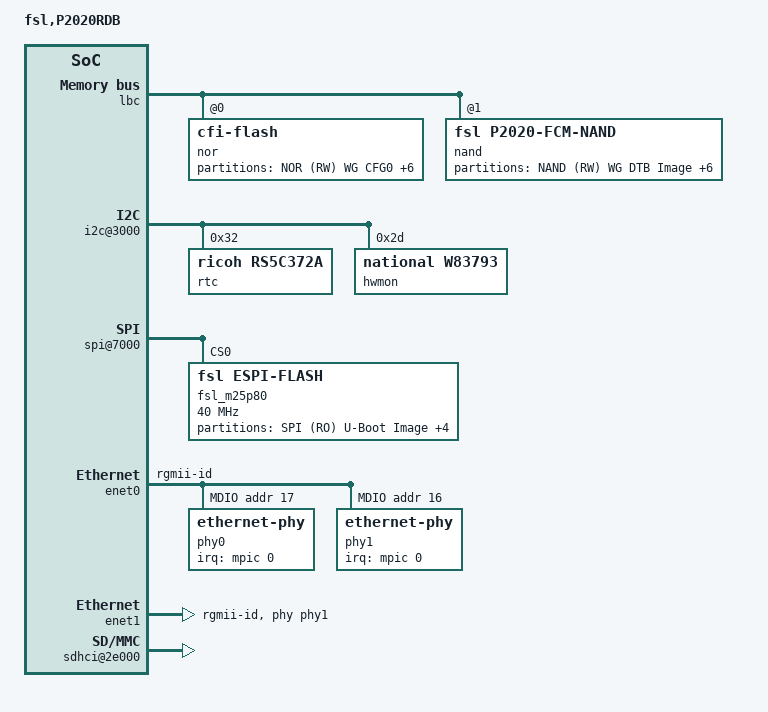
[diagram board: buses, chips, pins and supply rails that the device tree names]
/*
 * P2020 RDB Device Tree Source
 *
 * Copyright 2009-2010 Freescale Semiconductor Inc.
 *
 * This program is free software; you can redistribute  it and/or modify it
 * under  the terms of  the GNU General  Public License as published by the
 * Free Software Foundation;  either version 2 of the  License, or (at your
 * option) any later version.
 */

/include/ "fsl/p2020si-pre.dtsi"

/ {
	model = "fsl,P2020RDB";
	compatible = "fsl,P2020RDB";

	aliases {
		ethernet0 = &enet0;
		ethernet1 = &enet1;
		serial0 = &serial0;
		serial1 = &serial1;
		pci0 = &pci0;
		pci1 = &pci1;
	};

	memory {
		device_type = "memory";
	};

	lbc: localbus@ffe05000 {
		reg = <0 0xffe05000 0 0x1000>;
		interrupts = <19 2>;
		interrupt-parent = <&mpic>;

		/* NOR, NAND Flashes */
		ranges = <0x0 0x0 0x0 0xefe00000 0x00200000
			  0x1 0x0 0x0 0xffa00000 0x00040000>;

		nor@0,0 {
			#address-cells = <1>;
			#size-cells = <1>;
			compatible = "cfi-flash";
			reg = <0x0 0x0 0x200000>;
			bank-width = <2>;
			device-width = <1>;

			partition@00000000 {
				/*128KB*/
				reg = <0x00000000 0x00020000>;
				label = "NOR (RW) WG CFG0";
			};

			partition@00020000 {
				/*64KB*/
				reg = <0x00020000 0x00010000>;
				label = "NOR (RW) WG CFG1";
			};

			partition@00030000 {
				/*64KB*/
				reg = <0x00030000 0x00010000>;
				label = "NOR (RW) WG MFG DATA";
			};

			partition@00040000 {
				/*64KB*/
				reg = <0x00040000 0x000B0000>;
				label = "NOR (RW) WG bootOpt Data & reserved";
			};

			partition@000F0000 {
				/*64KB*/
				reg = <0x000F0000 0x00010000>;
				label = "NOR (RW) WG U-Boot ENV";
			};

			partition@00100000 {
				/*512KB*/
				reg = <0x00100000 0x00080000>;
				label = "NOR (RW) WG U-Boot Image";
			};

			partition@00180000 {
				/*512KB*/
				reg = <0x00180000 0x00080000>;
				label = "NOR (RW) WG U-Boot FAILSAFE";
			};

		};

		nand@1,0 {
			#address-cells = <1>;
			#size-cells = <1>;
			compatible = "fsl,p2020-fcm-nand",
				     "fsl,elbc-fcm-nand";
			reg = <0x1 0x0 0x00040000>;

			partition@00000000 {
				/* 128KB for DTB Image */
				reg = <0x00000000 0x00020000>;
				label = "NAND (RW) WG DTB Image";
			};

			partition@00020000 {
				/* 5MB for sysa kernel */
				reg = <0x00020000 0x00500000>;
				label = "NAND (RW) WG SYSA Kernel";
			};

			partition@00520000 {
				/* 121MB for sysa code */
				reg = <0x00520000 0x079e0000>;
				label = "NAND (RW) WG SYSA_CODE";
			};

			partition@07f00000 {
				/* 352MB for sysa data */
				reg = <0x07f00000 0x16000000>;
				label = "NAND (RW) WG SYSA_DATA";
			};

			partition@1df00000 {
				/* 5MB for sysb kernel */
				reg = <0x1df00000 0x00500000>;
				label = "NAND (RW) WG SYSB Kernel";
			};

			partition@1e400000 {
				/* 24MB for sysb code */
				reg = <0x1e400000 0x01800000>;
				label = "NAND (RW) WG SYSB_CODE";
			};

			partition@1fc00000 {
				/* 4MB for kdump */
				reg = <0x1fc00000 0x00400000>;
				label = "NAND (RW) WG KDUMP";
			};
		};
	};

	soc: soc@ffe00000 {
		#address-cells = <1>;
		#size-cells = <1>;
		device_type = "soc";
		compatible = "fsl,p2020-immr", "simple-bus";
		ranges = <0x0  0x0 0xffe00000 0x100000>;
		bus-frequency = <0>;		// Filled out by uboot.

		i2c@3000 {
			#address-cells = <1>;
			#size-cells = <0>;
			cell-index = <0>;
			compatible = "fsl-i2c";
			reg = <0x3000 0x100>;
			interrupts = <43 2>;
			interrupt-parent = <&mpic>;
			dfsrr;
			rtc@32 {
				compatible = "ricoh,rs5c372a";
				reg = <0x32>;
			};
			hwmon@2d {
				compatible = "national,w83793";
				reg = <0x2d>;
			};
		};

		spi@7000 {
			cell-index = <0>;
			#address-cells = <1>;
			#size-cells = <0>;
			compatible = "fsl,espi";
			reg = <0x7000 0x1000>;
			interrupts = <59 0x2>;
			interrupt-parent = <&mpic>;
			espi,num-ss-bits = <4>;
			mode = "cpu";

			fsl_m25p80@0 {
				#address-cells = <1>;
				#size-cells = <1>;
				compatible = "fsl,espi-flash";
				reg = <0>;
				linux,modalias = "fsl_m25p80";
				modal = "s25sl128b";
				spi-max-frequency = <40000000>;
				mode = <0>;

				partition@0 {
					/* 512KB for u-boot Bootloader Image */
					reg = <0x0 0x00080000>;
					label = "SPI (RO) U-Boot Image";
					read-only;
				};

				partition@80000 {
					/* 512KB for DTB Image */
					reg = <0x00080000 0x00080000>;
					label = "SPI (RO) DTB Image";
					read-only;
				};

				partition@100000 {
					/* 4MB for Linux Kernel Image */
					reg = <0x00100000 0x00400000>;
					label = "SPI (RO) Linux Kernel Image";
					read-only;
				};

				partition@500000 {
					/* 4MB for Compressed RFS Image */
					reg = <0x00500000 0x00400000>;
					label = "SPI (RO) Compressed RFS Image";
					read-only;
				};

				partition@900000 {
					/* 7MB for JFFS2 based RFS */
					reg = <0x00900000 0x00700000>;
					label = "SPI (RW) JFFS2 RFS";
				};
			};
		};

		usb@22000 {
			phy_type = "ulpi";
		};

		enet0: ethernet@24000 {
			#address-cells = <1>;
			#size-cells = <1>;
			cell-index = <0>;
			device_type = "network";
			model = "eTSEC";
			compatible = "gianfar";
			reg = <0x24000 0x1000>;
			ranges = <0x0 0x24000 0x1000>;
			local-mac-address = [ 00 00 00 00 00 00 ];
			interrupts = <29 2 30 2 34 2>;
			interrupt-parent = <&mpic>;
			fixed-link = <1 1 1000 0 0>;
			phy-connection-type = "rgmii-id";

			mdio@520 {
				#address-cells = <1>;
				#size-cells = <0>;
				compatible = "fsl,gianfar-mdio";
				reg = <0x520 0x20>;

				phy0: ethernet-phy@0 {
					interrupt-parent = <&mpic>;
					interrupts = <0 1>;
					reg = <0x11>;
				};
				phy1: ethernet-phy@1 {
					interrupt-parent = <&mpic>;
					interrupts = <0 1>;
					reg = <0x10>;
				};
			};
		};

		enet1: ethernet@26000 {
			#address-cells = <1>;
			#size-cells = <1>;
			cell-index = <2>;
			device_type = "network";
			model = "eTSEC";
			compatible = "gianfar";
			reg = <0x26000 0x1000>;
			ranges = <0x0 0x26000 0x1000>;
			local-mac-address = [ 00 00 00 00 00 00 ];
			interrupts = <31 2 32 2 33 2>;
			interrupt-parent = <&mpic>;
			phy-handle = <&phy1>;
			fixed-link = <2 1 1000 0 0>;
			phy-connection-type = "rgmii-id";
		};

		sdhci@2e000 {
			compatible = "fsl,p2020-esdhc", "fsl,esdhc";
			reg = <0x2e000 0x1000>;
			interrupts = <72 0x2>;
			interrupt-parent = <&mpic>;
			fsl,sdhci-dma-broken;
			fsl,sdhci-adjust-timeout;
			/* Filled in by U-Boot */
			clock-frequency = <0>;
		};
	};


	pci0: pcie@ffe08000 {
		reg = <0 0xffe08000 0 0x1000>;
		status = "disabled";
	};

	pci1: pcie@ffe09000 {
		reg = <0 0xffe09000 0 0x1000>;
		ranges = <0x2000000 0x0 0xa0000000 0 0xa0000000 0x0 0x20000000
			  0x1000000 0x0 0x00000000 0 0xffc10000 0x0 0x10000>;
		pcie@0 {
			ranges = <0x2000000 0x0 0xa0000000
				  0x2000000 0x0 0xa0000000
				  0x0 0x20000000

				  0x1000000 0x0 0x0
				  0x1000000 0x0 0x0
				  0x0 0x100000>;
		};
	};

	pci2: pcie@ffe0a000 {
		reg = <0 0xffe0a000 0 0x1000>;
		ranges = <0x2000000 0x0 0x80000000 0 0x80000000 0x0 0x20000000
			  0x1000000 0x0 0x00000000 0 0xffc00000 0x0 0x10000>;
		pcie@0 {
			ranges = <0x2000000 0x0 0x80000000
				  0x2000000 0x0 0x80000000
				  0x0 0x20000000

				  0x1000000 0x0 0x0
				  0x1000000 0x0 0x0
				  0x0 0x100000>;
		};
	};
};

/include/ "fsl/p2020si-post.dtsi"
